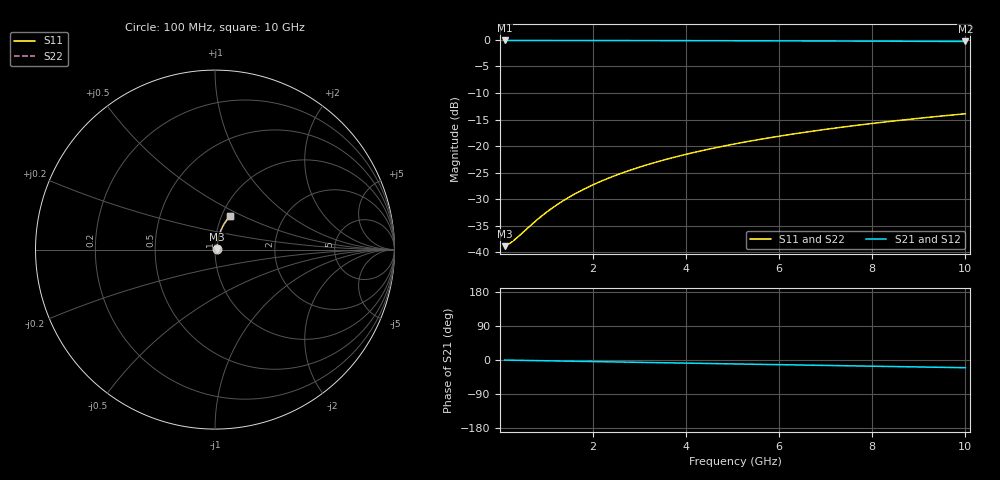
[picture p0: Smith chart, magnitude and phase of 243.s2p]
# Hz S RI R 50.00
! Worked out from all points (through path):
!   100 points, 100 MHz to 10 GHz, reference 50 ohm
!   highest |S21| = -0.10 dB at 100 MHz (marker M1); lowest = -0.3 dB at 10 GHz (marker M2)
!   group delay of S21, straight-line fit = 5.66 ps
!   lowest |S11| = -38.8 dB at 100 MHz (marker M3), VSWR 1.02, Z = 51.1 + j0.209 ohm
!   |S11| at or under -10 dB: start of sweep to end of sweep
!   |S22| runs from -38.8 to -13.9 dB; largest |S21 - S12| = 0
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1e8  0.0112 0.00205  0.9888 -0.00356  0.9888 -0.00356  0.0112 0.00205
2e8  0.0113 0.00409  0.9887 -0.00712  0.9887 -0.00712  0.0113 0.00409
3e8  0.0114 0.00613  0.9886 -0.0107  0.9886 -0.0107  0.0114 0.00613
8e8  0.012 0.0163  0.9879 -0.0284  0.9879 -0.0284  0.012 0.0163
9e8  0.0121 0.0184  0.9877 -0.032  0.9877 -0.032  0.0121 0.0184
1.1e9  0.0125 0.0224  0.9874 -0.0391  0.9874 -0.0391  0.0125 0.0224
1.4e9  0.0131 0.0285  0.9867 -0.0497  0.9867 -0.0497  0.0131 0.0285
1.6e9  0.0136 0.0326  0.9861 -0.0568  0.9861 -0.0568  0.0136 0.0326
1.8e9  0.0141 0.0366  0.9855 -0.0639  0.9855 -0.0639  0.0141 0.0366
2.1e9  0.015 0.0427  0.9845 -0.0745  0.9845 -0.0745  0.015 0.0427
2.5e9  0.0164 0.0507  0.9828 -0.0886  0.9828 -0.0886  0.0164 0.0507
2.9e9  0.018 0.0587  0.981 -0.1026  0.981 -0.1026  0.018 0.0587
3.4e9  0.0204 0.0686  0.9783 -0.1201  0.9783 -0.1201  0.0204 0.0686
3.8e9  0.0225 0.0765  0.9758 -0.134  0.9758 -0.134  0.0225 0.0765
4.2e9  0.0248 0.0842  0.9731 -0.1478  0.9731 -0.1478  0.0248 0.0842
4.6e9  0.0274 0.0919  0.9701 -0.1616  0.9701 -0.1616  0.0274 0.0919
5.1e9  0.0309 0.1014  0.966 -0.1787  0.966 -0.1787  0.0309 0.1014
5.9e9  0.0372 0.1163  0.9587 -0.2057  0.9587 -0.2057  0.0372 0.1163
6.7e9  0.0443 0.1307  0.9504 -0.2323  0.9504 -0.2323  0.0443 0.1307
7.5e9  0.0521 0.1446  0.9413 -0.2584  0.9413 -0.2584  0.0521 0.1446
8.4e9  0.0618 0.1597  0.9298 -0.2871  0.9298 -0.2871  0.0618 0.1597
1e10  0.0812 0.1846  0.907 -0.3365  0.907 -0.3365  0.0812 0.1846
